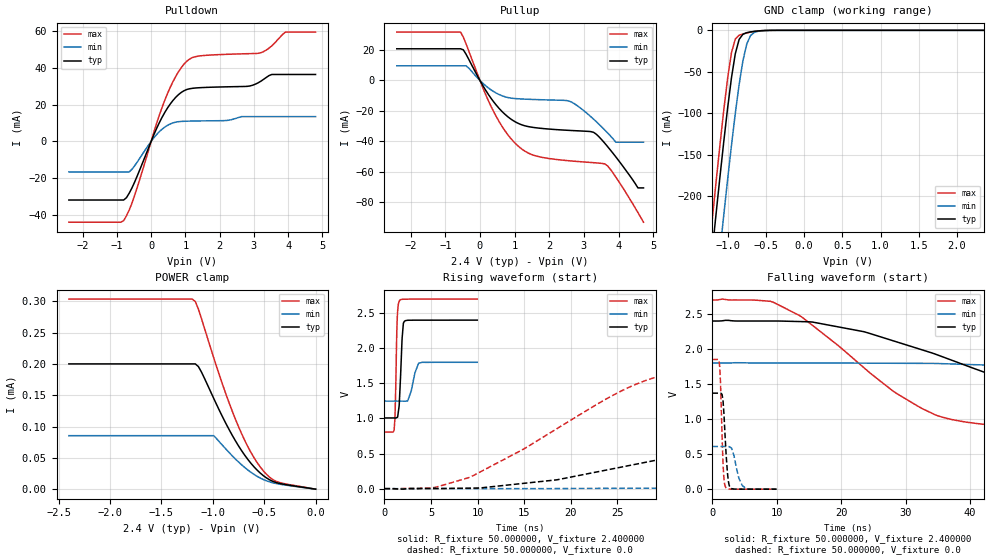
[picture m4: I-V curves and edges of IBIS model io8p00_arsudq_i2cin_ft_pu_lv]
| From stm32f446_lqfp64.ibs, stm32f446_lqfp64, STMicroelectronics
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|   Model io8p00_arsudq_i2cin_ft_pu_lv
[Model]  io8p00_arsudq_i2cin_ft_pu_lv
Model_type I/O
Polarity   Non-Inverting
Enable   Active-Low
Vinl =   0.720000V
Vinh =   1.680000V
Vmeas =  1.200000V
Cref =   50.000000pF
Rref =   100.000000M
Vref =   0.0V
C_comp   2.226900pF   2.174000pF   2.332300pF
[Temperature Range]   25.000000   0.125000k   -40.000000
[Pullup Reference]   2.400000V   1.800000V   2.700000V
[Pulldown Reference]   0.0V   0.0V   0.0V
[POWER Clamp Reference]   2.400000V   1.800000V   2.700000V
[GND Clamp Reference]   0.0V   0.0V   0.0V
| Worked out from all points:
|   slope of the pulldown table from 0 to 0.36 V, typ, clamps not added: 25 ohm
|   slope of the pullup table from 0 to 0.36 V, typ, clamps not added: 27.7 ohm
|   GND clamp passes 1 mA (typ) near -0.62 V on its own axis
|   rising waveform, R_fixture 50.000000, V_fixture 2.400000: 20-80 % time 270ps typ, 604ps min, 183ps max; typ from 1.01 V to 2.4 V
|   rising waveform, R_fixture 50.000000, V_fixture 0.0: 20-80 % time 32.4ns typ, 81.1ns min, 14.8ns max; typ from 0.001 V to 1.37 V
|   falling waveform, R_fixture 50.000000, V_fixture 2.400000: 20-80 % time 29.1ns typ, 74.5ns min, 16.1ns max; typ from 2.4 V to 1.01 V
|   falling waveform, R_fixture 50.000000, V_fixture 0.0: 20-80 % time 523ps typ, 973ps min, 382ps max; typ from 1.37 V to 0.001 V
[Pulldown]
|Voltage   I(typ)   I(min)   I(max)
-2.4V     -31.73mA   -16.51mA   -43.74mA
-800mV    -31.73mA   -16.51mA   -42.87mA
-480mV    -21.98mA   -13.17mA   -29.21mA
80mV      3.63mA     1.966mA    5.014mA
480mV     18.16mA    8.738mA    26.02mA
800mV     25.38mA    10.72mA    37.77mA
1.12V     28.53mA    11.02mA    44.6mA
2.8V      29.84mA    13.46mA    47.53mA
3.2V      32.6mA     13.46mA    48.03mA
3.52V     36.28mA    13.46mA    51.75mA
3.92V     36.28mA    13.46mA    59.24mA
4.8V      36.28mA    13.46mA    59.24mA
[Pullup]
|Voltage   I(typ)   I(min)   I(max)
-2.4V     20.87mA    9.659mA    31.88mA
-560mV    20.87mA    9.659mA    31.88mA
-400mV    17.27mA    9.659mA    24.06mA
320mV     -11.75mA   -6.207mA   -17.08mA
960mV     -26.47mA   -11.82mA   -40.02mA
1.52V     -30.88mA   -12.51mA   -49.05mA
2.56V     -32.88mA   -13.48mA   -52.9mA
3.28V     -34.18mA   -25.51mA   -54.17mA
3.6V      -41.3mA    -32.61mA   -54.97mA
3.92V     -50.32mA   -40.7mA    -63.62mA
4.56V     -70.8mA    -40.7mA    -87.07mA
4.72V     -70.8mA    -40.7mA    -93.4mA
[GND_clamp]
|Voltage   I(typ)   I(min)   I(max)
-2.4V     -1.425A    -1.509A    -1.394A
-1.25V    -311.2mA   -401.9mA   -273.3mA
-1.2V     -265.4mA   -356.1mA   -227.2mA
-1.15V    -220.4mA   -310.8mA   -181.9mA
-1.1V     -176.3mA   -266.2mA   -137.9mA
-1.05V    -133.8mA   -222.5mA   -95.87mA
-950mV    -57.3mA    -138.9mA   -26.98mA
-900mV    -28.27mA   -100.4mA   -10.59mA
-850mV    -11.01mA   -65.54mA   -5.958mA
-750mV    -2.834mA   -16.5mA    -3.178mA
-600mV    -750uA     -1.164mA   -738.3uA
2.35V     0A         0A         0A
[POWER_clamp]
|Voltage   I(typ)   I(min)   I(max)
-2.4V     200uA      85.39uA    303.5uA
-1.2V     200uA      85.39uA    303.5uA
-1.17V    200uA      85.39uA    299.5uA
-1.14V    195.7uA    85.39uA    287.5uA
-990mV    144.6uA    85.39uA    209.3uA
-870mV    104.1uA    63.61uA    150.8uA
-780mV    77.28uA    48.2uA     111.8uA
-660mV    47.71uA    30.75uA    68.21uA
-570mV    30.64uA    20.61uA    42.79uA
-480mV    18.19uA    13.44uA    24.07uA
-390mV    10.91uA    9.231uA    13.01uA
0V        0A         0A         0A
[Ramp]
| variable   typ   min   max
dV/dt_r  0.82267/32.39155n   0.36219/82.87552n   1.11077/14.73368n
dV/dt_f  0.83628/29.16661n   0.32700/79.59643n   1.13704/16.12745n
R_load = 50.000000
[Rising Waveform]
R_fixture= 50.000000
V_fixture= 2.400000
V_fixture_min= 1.800000
V_fixture_max= 2.700000
|time   V(typ)   V(min)   V(max)
0s        1.007V     1.247V     805.7mV
1.041ns   1.007V     1.247V     840.2mV
1.141ns   1.007V     1.247V     1.06V
1.381ns   1.016V     1.247V     2.446V
1.642ns   1.345V     1.247V     2.681V
1.902ns   2.148V     1.247V     2.696V
2.162ns   2.386V     1.246V     2.698V
2.503ns   2.398V     1.253V     2.699V
3.664ns   2.4V       1.785V     2.7V
9.97ns    2.4V       1.8V       2.7V
[Rising Waveform]
R_fixture= 50.000000
V_fixture= 0.0
V_fixture_min= 0.0
V_fixture_max= 0.0
|time   V(typ)   V(min)   V(max)
0s        880.4uV    840.2uV    911.2uV
5.005ns   2.73mV     1.883mV    11.14mV
9.009ns   7.894mV    1.892mV    156mV
18.52ns   126.6mV    2.404mV    854.3mV
28.53ns   388.8mV    7.732mV    1.561V
39.04ns   690.7mV    31.5mV     1.769V
65.57ns   1.239V     123.7mV    1.844V
80.08ns   1.318V     195.9mV    1.849V
147.6ns   1.37V      493.3mV    1.852V
249.2ns   1.371V     610.3mV    1.852V
[Falling Waveform]
R_fixture= 50.000000
V_fixture= 2.400000
V_fixture_min= 1.800000
V_fixture_max= 2.700000
|time   V(typ)   V(min)   V(max)
0s        2.4V       1.8V       2.7V
9.51ns    2.4V       1.8V       2.666V
14.01ns   2.391V     1.8V       2.448V
23.52ns   2.248V     1.799V     1.734V
32.53ns   1.989V     1.796V     1.152V
44.54ns   1.597V     1.766V     906mV
60.56ns   1.236V     1.708V     844.3mV
85.59ns   1.079V     1.567V     816.3mV
123.6ns   1.028V     1.386V     807.5mV
249.2ns   1.007V     1.247V     805.7mV
[Falling Waveform]
R_fixture= 50.000000
V_fixture= 0.0
V_fixture_min= 0.0
V_fixture_max= 0.0
|time   V(typ)   V(min)   V(max)
0s        1.371V     610.3mV    1.852V
1.061ns   1.371V     610.2mV    1.82V
1.261ns   1.371V     610.2mV    1.521V
1.662ns   1.255V     610mV      358.8mV
1.842ns   998mV      609.7mV    112.1mV
2.062ns   616.6mV    609.5mV    29.21mV
2.482ns   116.6mV    611.8mV    3.313mV
2.843ns   17.53mV    594.5mV    1.377mV
4.645ns   915.7uV    51.91mV    955.9uV
9.97ns    880.4uV    840.2uV    911.2uV
